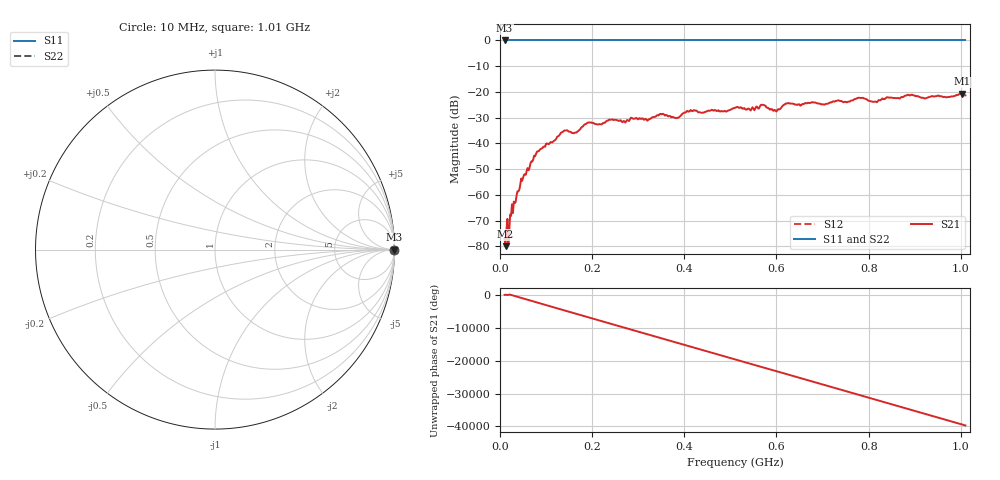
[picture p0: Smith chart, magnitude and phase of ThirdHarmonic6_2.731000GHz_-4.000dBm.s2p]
! 8/17/2025 6:42:56 AM
! C:\ANRITSUVNA\TEMP\TEMP.S2P
! CHANNEL.1
! TR.MEASUREMENT
! RAW.DATA
! RF.CORRECTION.OFF
! AVERAGING.OFF
! IF.BANDWIDTH: 5KHZ
! SWEEPTYPE:  FREQ.SWEEP(Linear)
! Reference Plane Port Info
! PORT:  PORT1  PORT2
! DISTANCE:  0  m  0  m
! TIME:  0  s  0  s
! PHASE.OFFSET:  0  deg.  0  deg.
! LOSS:  0  dB  0  dB
! REF.LOSS:  0  dB  0  dB
! REF.FREQ:  0  Hz  0  Hz
! Power Info
! POWER:  -20  dBm  -20  dBm
! EFF.POWER:  -20  dBm  -20  dBm
! SOURCE.ATTEN:  0  dB  0  dB
! TEST.ATTEN:  0  dB  0  dB
# GHZ S RI R 50.0
! FREQ.GHZ  S11RE  S11IM  S21RE  S21IM  S12RE  S12IM  S22RE  S22IM
!; PortSelection: Port_12
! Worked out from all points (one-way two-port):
!   501 points, 10 MHz to 1.01 GHz, reference 50 ohm
!   highest |S21| = -20.66 dB at 1.002 GHz (marker M1); lowest = -80.0 dB at 12 MHz (marker M2)
!   lowest |S11| = 0.0 dB at 10 MHz (marker M3)
!   |S11| at or under -10 dB: nowhere
!   |S22| runs from 0.0 to 0.0 dB; largest |S21 - S12| = 1.1
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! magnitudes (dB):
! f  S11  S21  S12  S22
! 10 MHz  0.0  -77.2  0.0  0.0
! 12 MHz  0.0  -80.0  0.0  0.0
! 16 MHz  0.0  -69.3  0.0  0.0
! 26 MHz  0.0  -63.7  0.0  0.0
! 48 MHz  0.0  -54.6  0.0  0.0
! 78 MHz  0.0  -44.2  0.0  0.0
! 136 MHz  0.0  -35.6  0.0  0.0
! 162 MHz  0.0  -35.9  0.0  0.0
! 178 MHz  0.0  -33.6  0.0  0.0
! 344 MHz  0.0  -29.1  0.0  0.0
! 384 MHz  0.0  -30.1  0.0  0.0
! 410 MHz  0.0  -27.7  0.0  0.0
! 510 MHz  0.0  -26.2  0.0  0.0
! 570 MHz  0.0  -25.0  0.0  0.0
! 596 MHz  0.0  -27.0  0.0  0.0
! 622 MHz  0.0  -24.5  0.0  0.0
! 678 MHz  0.0  -24.0  0.0  0.0
! 782 MHz  0.0  -22.3  0.0  0.0
! 814 MHz  0.0  -23.7  0.0  0.0
! 844 MHz  0.0  -22.2  0.0  0.0
! 1.002 GHz  0.0  -20.7  0.0  0.0
! 1.01 GHz  0.0  -21.3  0.0  0.0
